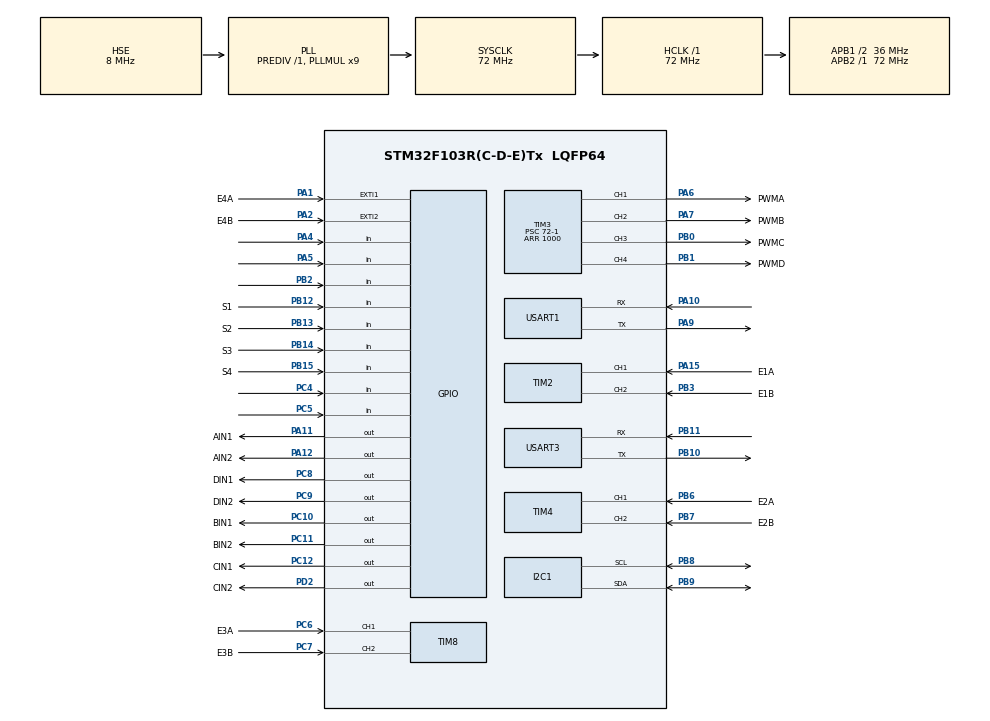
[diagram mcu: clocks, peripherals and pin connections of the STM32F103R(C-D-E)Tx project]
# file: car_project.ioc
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I2C1.I2C_Mode=I2C_Fast
Mcu.Family=STM32F1
Mcu.Name=STM32F103R(C-D-E)Tx
Mcu.Package=LQFP64
NVIC.EXTI1_IRQn=true\:0\:0\:false\:false\:true\:true\:true\:true
NVIC.EXTI2_IRQn=true\:0\:0\:false\:false\:true\:true\:true\:true
NVIC.PriorityGroup=NVIC_PRIORITYGROUP_4
NVIC.TIM1_UP_IRQn=true\:0\:0\:false\:false\:true\:true\:true\:true
NVIC.TIM6_IRQn=true\:0\:0\:false\:false\:true\:true\:true\:true
NVIC.USART3_IRQn=true\:0\:0\:false\:false\:true\:true\:true\:true
PA1.GPIO_Label=E4A
PA1.GPIO_ModeDefaultEXTI=GPIO_MODE_IT_RISING
PA1.GPIO_PuPd=GPIO_PULLDOWN
PA1.Signal=GPXTI1
PA10.Mode=Asynchronous
PA10.Signal=USART1_RX
PA11.GPIO_Label=AIN1
PA11.Signal=GPIO_Output
PA12.GPIO_Label=AIN2
PA12.Signal=GPIO_Output
PA13.Mode=Serial_Wire
PA13.Signal=SYS_JTMS-SWDIO
PA14.Mode=Serial_Wire
PA14.Signal=SYS_JTCK-SWCLK
PA15.GPIO_Label=E1A
PA15.Signal=S_TIM2_CH1_ETR
PA2.GPIO_Label=E4B
PA2.GPIO_ModeDefaultEXTI=GPIO_MODE_IT_RISING
PA2.GPIO_PuPd=GPIO_PULLDOWN
PA2.Signal=GPXTI2
PA4.Signal=GPIO_Input
PA5.Signal=GPIO_Input
PA6.GPIO_Label=PWMA
PA6.Signal=S_TIM3_CH1
PA7.GPIO_Label=PWMB
PA7.Signal=S_TIM3_CH2
PA9.Mode=Asynchronous
PA9.Signal=USART1_TX
PB0.GPIO_Label=PWMC
PB0.Signal=S_TIM3_CH3
PB1.GPIO_Label=PWMD
PB1.Signal=S_TIM3_CH4
PB10.Mode=Asynchronous
PB10.Signal=USART3_TX
PB11.Mode=Asynchronous
PB11.Signal=USART3_RX
PB12.GPIO_Label=S1
PB12.GPIO_PuPd=GPIO_PULLDOWN
PB12.Signal=GPIO_Input
PB13.GPIO_Label=S2
PB13.GPIO_PuPd=GPIO_PULLDOWN
PB13.Signal=GPIO_Input
PB14.GPIO_Label=S3
PB14.GPIO_PuPd=GPIO_PULLDOWN
PB14.Signal=GPIO_Input
PB15.GPIO_Label=S4
PB15.GPIO_PuPd=GPIO_PULLDOWN
PB15.Signal=GPIO_Input
PB2.Signal=GPIO_Input
PB3.GPIO_Label=E1B
PB3.Signal=S_TIM2_CH2
PB6.GPIO_Label=E2A
PB6.Signal=S_TIM4_CH1
PB7.GPIO_Label=E2B
PB7.Signal=S_TIM4_CH2
PB8.Mode=I2C
PB8.Signal=I2C1_SCL
PB9.Mode=I2C
PB9.Signal=I2C1_SDA
PC10.GPIO_Label=BIN1
PC10.Signal=GPIO_Output
PC11.GPIO_Label=BIN2
PC11.Signal=GPIO_Output
PC12.GPIO_Label=CIN1
PC12.Signal=GPIO_Output
PC4.Signal=GPIO_Input
PC5.Signal=GPIO_Input
PC6.GPIO_Label=E3A
PC6.Signal=S_TIM8_CH1
PC7.GPIO_Label=E3B
PC7.Signal=S_TIM8_CH2
PC8.GPIO_Label=DIN1
PC8.Signal=GPIO_Output
PC9.GPIO_Label=DIN2
PC9.Signal=GPIO_Output
PD0-OSC_IN.Mode=HSE-External-Oscillator
PD0-OSC_IN.Signal=RCC_OSC_IN
PD1-OSC_OUT.Mode=HSE-External-Oscillator
PD1-OSC_OUT.Signal=RCC_OSC_OUT
PD2.GPIO_Label=CIN2
PD2.GPIO_PuPd=GPIO_PULLDOWN
PD2.Signal=GPIO_Output
ProjectManager.HeapSize=0x200
ProjectManager.StackSize=0x400
ProjectManager.TargetToolchain=CMake
RCC.AHBFreq_Value=72000000
RCC.APB1CLKDivider=RCC_HCLK_DIV2
RCC.APB1Freq_Value=36000000
RCC.APB1TimFreq_Value=72000000
RCC.APB2Freq_Value=72000000
RCC.APB2TimFreq_Value=72000000
RCC.HCLKFreq_Value=72000000
RCC.PLLMUL=RCC_PLL_MUL9
RCC.PLLSourceVirtual=RCC_PLLSOURCE_HSE
RCC.SYSCLKFreq_VALUE=72000000
RCC.SYSCLKSource=RCC_SYSCLKSOURCE_PLLCLK
RCC.USBFreq_Value=72000000
SH.S_TIM2_CH1_ETR.0=TIM2_CH1,Encoder_Interface
SH.S_TIM2_CH2.0=TIM2_CH2,Encoder_Interface
SH.S_TIM3_CH1.0=TIM3_CH1,PWM Generation1 CH1
SH.S_TIM3_CH2.0=TIM3_CH2,PWM Generation2 CH2
SH.S_TIM3_CH3.0=TIM3_CH3,PWM Generation3 CH3
SH.S_TIM3_CH4.0=TIM3_CH4,PWM Generation4 CH4
SH.S_TIM4_CH1.0=TIM4_CH1,Encoder_Interface
SH.S_TIM4_CH2.0=TIM4_CH2,Encoder_Interface
SH.S_TIM8_CH1.0=TIM8_CH1,Encoder_Interface
SH.S_TIM8_CH2.0=TIM8_CH2,Encoder_Interface
TIM1.AutoReloadPreload=TIM_AUTORELOAD_PRELOAD_ENABLE
TIM1.Period=200
TIM1.Prescaler=7199
TIM2.IC1Filter=15
TIM2.IC2Filter=15
TIM3.Channel-PWM\ Generation1\ CH1=TIM_CHANNEL_1
TIM3.Channel-PWM\ Generation2\ CH2=TIM_CHANNEL_2
TIM3.Channel-PWM\ Generation3\ CH3=TIM_CHANNEL_3
TIM3.Channel-PWM\ Generation4\ CH4=TIM_CHANNEL_4
TIM3.Period=1000
TIM3.Prescaler=72-1
TIM4.IC2Filter=15
TIM6.Period=3749
USART1.VirtualMode=VM_ASYNC
USART3.VirtualMode=VM_ASYNC
VP_TIM1_VS_ClockSourceINT.Mode=Internal
VP_TIM3_VS_ClockSourceINT.Mode=Internal
VP_TIM6_VS_ClockSourceINT.Mode=Enable_Timer
board=custom

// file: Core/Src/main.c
/* USER CODE BEGIN Header */
/**
  ******************************************************************************
  * @file           : main.c
  * @brief          : Main program body
  ******************************************************************************
  * @attention
  *
  * Copyright (c) 2026 STMicroelectronics.
  * All rights reserved.
  *
  * This software is licensed under terms that can be found in the LICENSE file
  * in the root directory of this software component.
  * If no LICENSE file comes with this software, it is provided AS-IS.
  *
  ******************************************************************************
  */
/* USER CODE END Header */
#include "main.h"
#include "i2c.h"
#include "tim.h"
#include "usart.h"
#include "gpio.h"

/* USER CODE BEGIN Includes */
#include "motor.h"
#include "oled.h"
#include <stdio.h>
#include <string.h>
#include "mecanum.h"
#include "ui.h"
/* USER CODE END Includes */

void SystemClock_Config(void);

/* USER CODE BEGIN 0 */

/* ---- UART3 帧接收状态机 ---- */
/* 帧格式: 0x55 0x54 Vx_H Vx_L Vy_H Vy_L w_H w_L checksum (9字节) */
/* Vx, Vy: int16 (mm/s), w: int16 (milli-rad/s = rad/s * 1000) */
/* checksum: XOR of bytes 2~7 (6个数据字节) */
/* 注: 头2字节 + 数据6字节 + 校验1字节 = 共9字节 */

#define UART_FRAME_HEADER1  0x55
#define UART_FRAME_HEADER2  0x54
#define UART_FRAME_DATA_LEN  6   /* 数据字节数 (不含校验) */
#define UART_FRAME_BUF_LEN    7   /* 缓冲区大小 (数据+校验) */

typedef enum {
    UART_STATE_WAIT_H1 = 0,
    UART_STATE_WAIT_H2,
    UART_STATE_RECV_DATA
} uart_rx_state_t;

static uart_rx_state_t uart_state = UART_STATE_WAIT_H1;
static uint8_t uart_data_buf[UART_FRAME_BUF_LEN];  /* 6数据 + 1校验 */
static uint8_t uart_data_idx = 0;
static uint8_t uart_rx_byte = 0;  /* 单字节接收缓冲 */
static uint32_t uart_frame_count = 0;  /* 有效帧计数 */
static uint32_t uart_byte_count = 0;   /* 接收字节总数 (调试用) */
static uint32_t last_frame_tick = 0;   /* 上次收到有效帧的 systick */
#define UART_FRAME_TIMEOUT_MS  500     /* 超时阈值: 超过则清空状态机并归零速度 */

/**
  * @brief  USART3 接收完成回调 (每收到1字节触发)
  */
void HAL_UART_RxCpltCallback(UART_HandleTypeDef *huart)
{
    if (huart->Instance != USART3) return;

    uint8_t b = uart_rx_byte;
    uart_byte_count++;  /* 计数每个到达的字节 */

    switch (uart_state) {
    case UART_STATE_WAIT_H1:
        if (b == UART_FRAME_HEADER1) {
            uart_state = UART_STATE_WAIT_H2;
        }
        break;

    case UART_STATE_WAIT_H2:
        if (b == UART_FRAME_HEADER2) {
            uart_state = UART_STATE_RECV_DATA;
            uart_data_idx = 0;
        } else if (b != UART_FRAME_HEADER1) {
            uart_state = UART_STATE_WAIT_H1;
        }
        /* 如果是 0x55 则保持在 WAIT_H2 等待 0x54 */
        break;

    case UART_STATE_RECV_DATA:
        uart_data_buf[uart_data_idx++] = b;
        /* 收齐 6字节数据 + 1字节校验 = 共7字节 */
        if (uart_data_idx >= UART_FRAME_BUF_LEN) {
            /* 计算校验和: XOR of buf[0..5] (6个数据字节) */
            uint8_t ck = 0;
            for (int i = 0; i < UART_FRAME_DATA_LEN; i++) {
                ck ^= uart_data_buf[i];
            }

            /* buf[6] 是接收到的校验字节 */
            if (ck == uart_data_buf[UART_FRAME_DATA_LEN]) {
                /* 解析 Vx, Vy (int16, mm/s) */
                int16_t vx_raw = ((int16_t)uart_data_buf[0] << 8) | uart_data_buf[1];
                int16_t vy_raw = ((int16_t)uart_data_buf[2] << 8) | uart_data_buf[3];
                /* 解析 w (int16, milli-rad/s → float rad/s) */
                int16_t w_raw  = ((int16_t)uart_data_buf[4] << 8) | uart_data_buf[5];

                ui_params.Vx = (float)vx_raw;
                ui_params.Vy = (float)vy_raw;
                ui_params.w  = (float)w_raw / 1000.0f;

                /* 记录收帧时刻，用于超时检测 */
                last_frame_tick = HAL_GetTick();

                /* 非零速度时激活运动 */
                if (vx_raw != 0 || vy_raw != 0 || w_raw != 0) {
                    ui_motion_active = 1;
                } else {
                    ui_motion_active = 0;
                }
                uart_frame_count++;
            }
            /* 校验失败则丢弃此帧 */
            uart_state = UART_STATE_WAIT_H1;
        }
        break;
    }

    /* 重新启动单字节接收 */
    HAL_UART_Receive_IT(&huart3, &uart_rx_byte, 1);
}

/**
  * @brief  TIM1 更新中断回调函数
  * @note   由 HAL_TIM_IRQHandler(&htim1) 链式调用
  *         TIM1 配置：PSC=7199, ARR=200, 约20ms触发一次
  *         在此读取四个编码器计数值并更新电机转速
  */

void HAL_TIM_PeriodElapsedCallback(TIM_HandleTypeDef *htim)
{
    if (htim->Instance == TIM1) {

        motor_speed_update();

        if (ui_motion_active) {
            Motion_Control(ui_params.Vx, ui_params.Vy, ui_params.w);
        } else {
            Motion_Control(0.0f, 0.0f, 0.0f);
        }

    }
}

/* USER CODE END 0 */

int main(void)
{

  /* MCU Configuration--------------------------------------------------------*/

  /* Reset of all peripherals, Initializes the Flash interface and the Systick. */
  HAL_Init();

  /* Configure the system clock */
  SystemClock_Config();

  /* Initialize all configured peripherals */
  MX_GPIO_Init();
  MX_TIM3_Init();
  MX_I2C1_Init();
  MX_TIM2_Init();
  MX_TIM4_Init();
  MX_TIM8_Init();
  MX_USART1_UART_Init();
  MX_TIM1_Init();
  MX_TIM6_Init();
  MX_USART3_UART_Init();
  /* USER CODE BEGIN 2 */
  motor_init();
  HAL_Delay(20);
  OLED_Init();

  /* 初始化运动参数 (由 UART 远程控制更新) */
  ui_params.Vx = 0.0f;
  ui_params.Vy = 0.0f;
  ui_params.w = 0.0f;
  ui_params.time_ms = 0;
  ui_motion_active = 0;

  /* 启动 USART3 中断接收 (单字节, 用于帧解析) */
  HAL_UART_Receive_IT(&huart3, &uart_rx_byte, 1);
  /* USER CODE END 2 */

  /* Infinite loop */
  while (1)
  {

    /* USER CODE BEGIN 3 */
    char buf[22];

    /* ---- 串口超时检测: 超过 500ms 没收有效帧则清空状态机并归零速度 ---- */
    if (last_frame_tick != 0 &&
        (HAL_GetTick() - last_frame_tick) > UART_FRAME_TIMEOUT_MS)
    {
        /* 中止当前 UART 接收, 清空硬件缓冲 */
        HAL_UART_AbortReceive_IT(&huart3);
        /* 重置软件状态机 */
        uart_state = UART_STATE_WAIT_H1;
        uart_data_idx = 0;
        /* 速度归零 */
        ui_params.Vx = 0.0f;
        ui_params.Vy = 0.0f;
        ui_params.w  = 0.0f;
        ui_motion_active = 0;
        /* 重新启动中断接收 */
        HAL_UART_Receive_IT(&huart3, &uart_rx_byte, 1);
        last_frame_tick = 0;  /* 归零避免重复进入 */
    }

    OLED_NewFrame();

    /* 标题栏 */
    OLED_DrawFilledRectangle(0, 0, 128, 12, OLED_COLOR_NORMAL);
    OLED_PrintASCIIString(26, 0, "UART Control", &afont12x6, OLED_COLOR_REVERSED);

    /* Vx */
    snprintf(buf, sizeof(buf), "Vx: %+04d mm/s", (int)ui_params.Vx);
    OLED_PrintASCIIString(0, 14, buf, &afont12x6, OLED_COLOR_NORMAL);

    /* Vy */
    snprintf(buf, sizeof(buf), "Vy: %+04d mm/s", (int)ui_params.Vy);
    OLED_PrintASCIIString(0, 27, buf, &afont12x6, OLED_COLOR_NORMAL);

    /* w */
    {
        int wi = (int)(ui_params.w * 100.0f);
        int wa = (wi < 0) ? -wi : wi;
        snprintf(buf, sizeof(buf), "w : %c%d.%02d rad/s",
                 (wi < 0) ? '-' : '+', wa / 100, wa % 100);
    }
    OLED_PrintASCIIString(0, 40, buf, &afont12x6, OLED_COLOR_NORMAL);

    /* 状态行: 运动状态 + 帧计数 / 字节计数 */
    if (ui_motion_active) {
        snprintf(buf, sizeof(buf), "ON  F:%lu B:%lu",
                 (unsigned long)uart_frame_count,
                 (unsigned long)uart_byte_count);
    } else {
        snprintf(buf, sizeof(buf), "OFF F:%lu B:%lu",
                 (unsigned long)uart_frame_count,
                 (unsigned long)uart_byte_count);
    }
    OLED_PrintASCIIString(0, 53, buf, &afont12x6, OLED_COLOR_NORMAL);

    OLED_ShowFrame();
    HAL_Delay(50);
  }
  /* USER CODE END 3 */
}

void SystemClock_Config(void)
{
  RCC_OscInitTypeDef RCC_OscInitStruct = {0};
  RCC_ClkInitTypeDef RCC_ClkInitStruct = {0};

  /** Initializes the RCC Oscillators according to the specified parameters
  * in the RCC_OscInitTypeDef structure.
  */
  RCC_OscInitStruct.OscillatorType = RCC_OSCILLATORTYPE_HSE;
  RCC_OscInitStruct.HSEState = RCC_HSE_ON;
  RCC_OscInitStruct.HSEPredivValue = RCC_HSE_PREDIV_DIV1;
  RCC_OscInitStruct.HSIState = RCC_HSI_ON;
  RCC_OscInitStruct.PLL.PLLState = RCC_PLL_ON;
  RCC_OscInitStruct.PLL.PLLSource = RCC_PLLSOURCE_HSE;
  RCC_OscInitStruct.PLL.PLLMUL = RCC_PLL_MUL9;
  if (HAL_RCC_OscConfig(&RCC_OscInitStruct) != HAL_OK)
  {
    Error_Handler();
  }

  /** Initializes the CPU, AHB and APB buses clocks
  */
  RCC_ClkInitStruct.ClockType = RCC_CLOCKTYPE_HCLK|RCC_CLOCKTYPE_SYSCLK
                              |RCC_CLOCKTYPE_PCLK1|RCC_CLOCKTYPE_PCLK2;
  RCC_ClkInitStruct.SYSCLKSource = RCC_SYSCLKSOURCE_PLLCLK;
  RCC_ClkInitStruct.AHBCLKDivider = RCC_SYSCLK_DIV1;
  RCC_ClkInitStruct.APB1CLKDivider = RCC_HCLK_DIV2;
  RCC_ClkInitStruct.APB2CLKDivider = RCC_HCLK_DIV1;

  if (HAL_RCC_ClockConfig(&RCC_ClkInitStruct, FLASH_LATENCY_2) != HAL_OK)
  {
    Error_Handler();
  }
}

void Error_Handler(void)
{
  __disable_irq();
  while (1)
  {
  }
}
